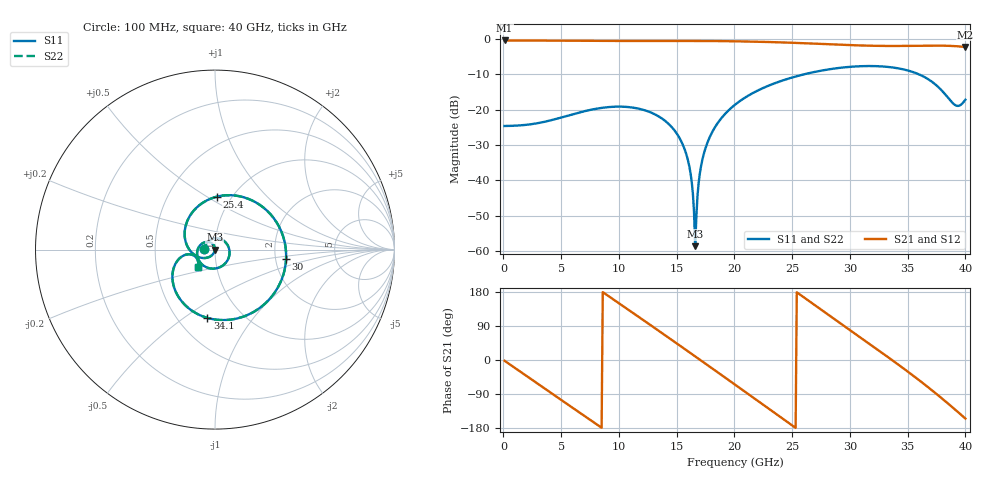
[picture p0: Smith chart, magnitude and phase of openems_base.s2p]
! C_s8_ap1200: L1→L8, antipad Ø1.2 on every plane
! stackup: 8-layer 1.6 mm FR-4 (generic)
! ports: 1, 2
! openEMS 0.37.0, staircase, base mesh (dfine 0.035 mm), 637065 cells
# Hz S RI R 50
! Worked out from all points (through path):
!   400 points, 100 MHz to 40 GHz, reference 50 ohm
!   highest |S21| = -0.53 dB at 100 MHz (marker M1); lowest = -2.4 dB at 40 GHz (marker M2)
!   group delay of S21, straight-line fit = 60 ps
!   lowest |S11| = -58.5 dB at 16.6 GHz (marker M3), VSWR 1.00, Z = 49.9 + j0.0439 ohm
!   |S11| at or under -10 dB: start of sweep to 26.12 GHz; 35.92 GHz to end of sweep
!   |S22| runs from -58.5 to -7.7 dB; largest |S21 - S12| = 8.7e-06
!   S11 on the Smith chart (normalised r, x): 100 MHz: 0.89, +0.01; 25.4 GHz: 0.86, +0.55; 30 GHz: 2.28, -0.30; 34.1 GHz: 0.69, -0.62; 40 GHz: 0.81, -0.16
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1e8  -0.0585 0.00358  0.9405 -0.0347  0.9405 -0.0347  -0.0585 0.00358
3.6e9  0.0391 0.0549  0.2274 -0.9085  0.2274 -0.9085  0.0391 0.0549
6.8e9  0.0664 -0.0649  -0.7434 -0.5574  -0.7434 -0.5574  0.0664 -0.0649
9.7e9  -0.0533 -0.0959  -0.8466 0.3753  -0.8466 0.3753  -0.0533 -0.0959
1.17e10  -0.0998 -0.0252  -0.3772 0.8467  -0.3772 0.8467  -0.0998 -0.0252
1.34e10  -0.0739 0.0325  0.1927 0.9082  0.1927 0.9082  -0.0739 0.0325
1.59e10  -0.00531 0.0208  0.8442 0.3871  0.8442 0.3871  -0.00531 0.0208
1.64e10  -0.00121 0.00653  0.901 0.223  0.901 0.223  -0.00121 0.00653
1.66e10  -0.0011 0.000439  0.9149 0.1547  0.9149 0.1547  -0.0011 0.000439
1.69e10  -0.00266 -0.00877  0.926 0.0509  0.926 0.0509  -0.00266 -0.00877
1.74e10  -0.00984 -0.0234  0.9181 -0.1229  0.9181 -0.1229  -0.00984 -0.0234
2.01e10  -0.1152 -0.0285  0.3722 -0.8365  0.3722 -0.8365  -0.1152 -0.0285
2.24e10  -0.1683 0.1047  -0.3942 -0.8086  -0.3942 -0.8086  -0.1683 0.1047
2.54e10  0.00981 0.2948  -0.8684 0.0205  -0.8684 0.0205  0.00981 0.2948
2.67e10  0.1584 0.292  -0.7405 0.4215  -0.7405 0.4215  0.1584 0.292
2.84e10  0.335 0.1642  -0.3306 0.7604  -0.3306 0.7604  0.335 0.1642
3e10  0.3959 -0.0544  0.1547 0.7944  0.1547 0.7944  0.3959 -0.0544
3.34e10  0.0611 -0.3923  0.7836 0.0734  0.7836 0.0734  0.0611 -0.3923
3.41e10  -0.042 -0.3806  0.7749 -0.1384  0.7749 -0.1384  -0.042 -0.3806
3.73e10  -0.2195 -0.0776  0.0734 -0.7933  0.0734 -0.7933  -0.2195 -0.0776
3.92e10  -0.1046 -0.0447  -0.5347 -0.5693  -0.5347 -0.5693  -0.1046 -0.0447
4e10  -0.096 -0.0985  -0.6866 -0.3269  -0.6866 -0.3269  -0.096 -0.0985
